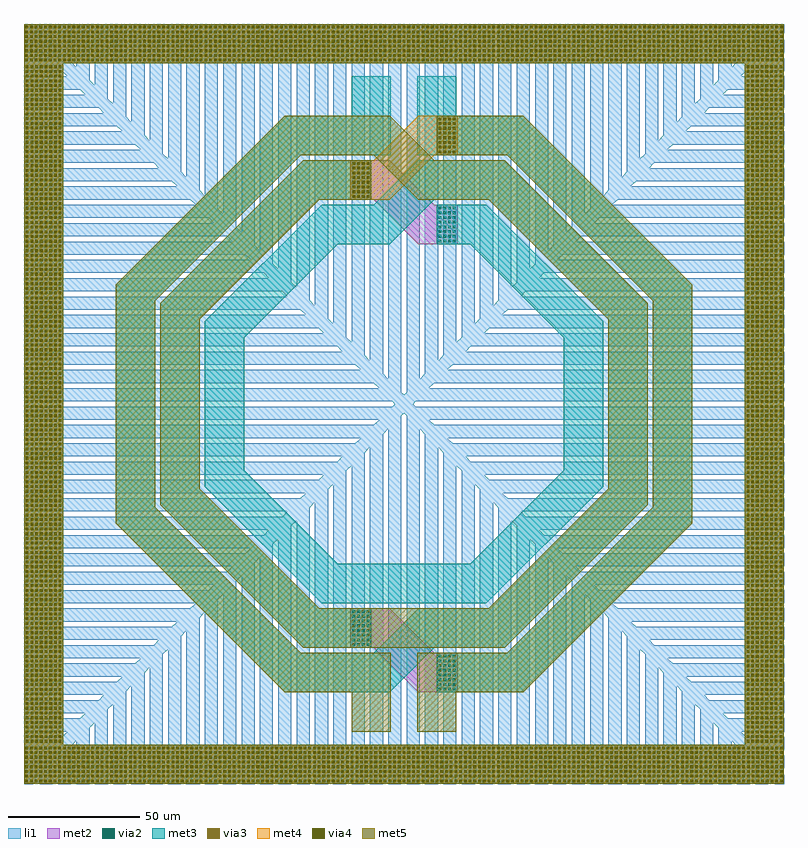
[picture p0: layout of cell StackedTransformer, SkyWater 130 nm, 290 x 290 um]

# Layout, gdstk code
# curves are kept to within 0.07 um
import gdstk
lib = gdstk.Library(unit=1e-6, precision=1e-09)
def R(c, l, rs):  # rectangles x0, y0, x1, y1
    for r in rs: c.add(gdstk.rectangle(r[:2], r[2:], *l))
def A(c, l, x, y, w, h, nx, ny, dx, dy):  # array of equal rectangles
    R(c, l, [(x+i*dx, y+j*dy, x+i*dx+w, y+j*dy+h) for i in range(nx) for j in range(ny)])
def P(c, l, *ps):  # polygons
    for p in ps: c.add(gdstk.Polygon(p, *l))
li1 = (67, 20)
met2 = (69, 20)
via2 = (69, 44)
met3 = (70, 20)
via3 = (70, 44)
met4 = (71, 20)
via4 = (71, 44)
met5 = (72, 20)

stackedtransformer = lib.new_cell('StackedTransformer')
P(stackedtransformer, li1, [(-145.001,-48),(-51.536,-48),(-53.536,-50),(-145.001,-50),(-145.001,-55),(-58.536,-55),(-60.536,-57),(-145.001,-57),(-145.001,-62),(-65.536,-62),(-67.536,-64),(-145.001,-64),(-145.001,-69),(-72.536,-69),(-74.536,-71),(-145.001,-71),(-145.001,-76),(-79.536,-76),(-81.535,-78),(-145.001,-78),(-145.001,-83),(-86.536,-83),(-88.535,-85),(-145.001,-85),(-145.001,-90),(-93.536,-90),(-95.535,-92),(-145.001,-92),(-145.001,-97),(-100.536,-97),(-102.535,-99),(-145.001,-99),(-145.001,-104),(-107.536,-104),(-109.535,-106),(-145.001,-106),(-145.001,-111),(-114.536,-111),(-116.535,-113),(-145.001,-113),(-145.001,-118),(-121.536,-118),(-123.535,-120),(-145.001,-120),(-145.001,-125),(-128.536,-125),(-130.535,-127),(-145.001,-127),(-145.001,-132),(-135.536,-132.001),(-137.535,-134),(-145.001,-133.999),(-145.001,-139.001),(-142.537,-139.001),(-145.001,-141.465),(-145.001,-145.001),(-141.465,-145.001),(-139.001,-142.537),(-139.001,-145.001),(-133.999,-145.001),(-134,-137.535),(-132.001,-135.536),(-132,-145.001),(-127,-145.001),(-127,-130.535),(-125,-128.536),(-125,-145.001),(-120,-145.001),(-120,-123.535),(-118,-121.536),(-118,-145.001),(-113,-145.001),(-113,-116.535),(-111,-114.536),(-111,-145.001),(-106,-145.001),(-106,-109.535),(-104,-107.536),(-104,-145.001),(-99,-145.001),(-99,-102.535),(-97,-100.536),(-97,-145.001),(-92,-145.001),(-92,-95.535),(-90,-93.536),(-90,-145.001),(-85,-145.001),(-85,-88.535),(-83,-86.536),(-83,-145.001),(-78,-145.001),(-78,-81.535),(-76,-79.536),(-76,-145.001),(-71,-145.001),(-71,-74.536),(-69,-72.536),(-69,-145.001),(-64,-145.001),(-64,-67.536),(-62,-65.536),(-62,-145.001),(-57,-145.001),(-57,-60.536),(-55,-58.536),(-55,-145.001),(-50,-145.001),(-50,-53.536),(-48,-51.536),(-48,-145.001),(-43,-145.001),(-43,-46.536),(-41,-44.536),(-41,-145.001),(-36,-145.001),(-36,-39.536),(-34,-37.536),(-34,-145.001),(-29,-145.001),(-29,-32.536),(-27,-30.536),(-27,-145.001),(-22,-145.001),(-22,-25.536),(-20,-23.536),(-20,-145.001),(-15,-145.001),(-15,-18.536),(-13,-16.536),(-13,-145.001),(-8,-145.001),(-8,-11.536),(-6,-9.536),(-6,-145.001),(-1,-145.001),(-1,-4.536),(0,-3.536),(1,-4.536),(1,-145.001),(6,-145.001),(6,-9.536),(8,-11.536),(8,-145.001),(13,-145.001),(13,-16.536),(15,-18.536),(15,-145.001),(20,-145.001),(20,-23.536),(22,-25.536),(22,-145.001),(27,-145.001),(27,-30.536),(29,-32.536),(29,-145.001),(34,-145.001),(34,-37.536),(36,-39.536),(36,-145.001),(41,-145.001),(41,-44.536),(43,-46.536),(43,-145.001),(48,-145.001),(48,-51.536),(50,-53.536),(50,-145.001),(55,-145.001),(55,-58.536),(57,-60.536),(57,-145.001),(62,-145.001),(62,-65.536),(64,-67.536),(64,-145.001),(69,-145.001),(69,-72.536),(71,-74.536),(71,-145.001),(76,-145.001),(76,-79.536),(78,-81.535),(78,-145.001),(83,-145.001),(83,-86.536),(85,-88.535),(85,-145.001),(90,-145.001),(90,-93.536),(92,-95.535),(92,-145.001),(97,-145.001),(97,-100.536),(99,-102.535),(99,-145.001),(104,-145.001),(104,-107.536),(106,-109.535),(106,-145.001),(111,-145.001),(111,-114.536),(113,-116.535),(113,-145.001),(118,-145.001),(118,-121.536),(120,-123.535),(120,-145.001),(125,-145.001),(125,-128.536),(127,-130.535),(127,-145.001),(132,-145.001),(132.001,-135.536),(134,-137.535),(133.999,-145.001),(139.001,-145.001),(139.001,-142.537),(141.465,-145.001),(145.001,-145.001),(145.001,-141.465),(142.537,-139.001),(145.001,-139.001),(145.001,-133.999),(137.535,-134),(135.536,-132.001),(145.001,-132),(145.001,-127),(130.535,-127),(128.536,-125),(145.001,-125),(145.001,-120),(123.535,-120),(121.536,-118),(145.001,-118),(145.001,-113),(116.535,-113),(114.536,-111),(145.001,-111),(145.001,-106),(109.535,-106),(107.536,-104),(145.001,-104),(145.001,-99),(102.535,-99),(100.536,-97),(145.001,-97),(145.001,-92),(95.535,-92),(93.536,-90),(145.001,-90),(145.001,-85),(88.535,-85),(86.536,-83),(145.001,-83),(145.001,-78),(81.535,-78),(79.536,-76),(145.001,-76),(145.001,-71),(74.536,-71),(72.536,-69),(145.001,-69),(145.001,-64),(67.536,-64),(65.536,-62),(145.001,-62),(145.001,-57),(60.536,-57),(58.536,-55),(145.001,-55),(145.001,-50),(53.536,-50),(51.536,-48),(145.001,-48),(145.001,-43),(46.536,-43),(44.536,-41),(145.001,-41),(145.001,-36),(39.536,-36),(37.536,-34),(145.001,-34),(145.001,-29),(32.536,-29),(30.536,-27),(145.001,-27),(145.001,-22),(25.536,-22),(23.536,-20),(145.001,-20),(145.001,-15),(18.536,-15),(16.536,-13),(145.001,-13),(145.001,-8),(11.536,-8),(9.536,-6),(145.001,-6),(145.001,-1),(4.536,-1),(3.536,0),(4.536,1),(145.001,1),(145.001,6),(9.536,6),(11.536,8),(145.001,8),(145.001,13),(16.536,13),(18.536,15),(145.001,15),(145.001,20),(23.536,20),(25.536,22),(145.001,22),(145.001,27),(30.536,27),(32.536,29),(145.001,29),(145.001,34),(37.536,34),(39.536,36),(145.001,36),(145.001,41),(44.536,41),(46.536,43),(145.001,43),(145.001,48),(51.536,48),(53.536,50),(145.001,50),(145.001,55),(58.536,55),(60.536,57),(145.001,57),(145.001,62),(65.536,62),(67.536,64),(145.001,64),(145.001,69),(72.536,69),(74.536,71),(145.001,71),(145.001,76),(79.536,76),(81.535,78),(145.001,78),(145.001,83),(86.536,83),(88.535,85),(145.001,85),(145.001,90),(93.536,90),(95.535,92),(145.001,92),(145.001,97),(100.536,97),(102.535,99),(145.001,99),(145.001,104),(107.536,104),(109.535,106),(145.001,106),(145.001,111),(114.536,111),(116.535,113),(145.001,113),(145.001,118),(121.536,118),(123.535,120),(145.001,120),(145.001,125),(128.536,125),(130.535,127),(145.001,127),(145.001,132),(135.536,132.001),(137.535,134),(145.001,133.999),(145.001,139.001),(142.537,139.001),(145.001,141.465),(145.001,145.001),(141.465,145.001),(139.001,142.537),(139.001,145.001),(133.999,145.001),(134,137.535),(132.001,135.536),(132,145.001),(127,145.001),(127,130.535),(125,128.536),(125,145.001),(120,145.001),(120,123.535),(118,121.536),(118,145.001),(113,145.001),(113,116.535),(111,114.536),(111,145.001),(106,145.001),(106,109.535),(104,107.536),(104,145.001),(99,145.001),(99,102.535),(97,100.536),(97,145.001),(92,145.001),(92,95.535),(90,93.536),(90,145.001),(85,145.001),(85,88.535),(83,86.536),(83,145.001),(78,145.001),(78,81.535),(76,79.536),(76,145.001),(71,145.001),(71,74.536),(69,72.536),(69,145.001),(64,145.001),(64,67.536),(62,65.536),(62,145.001),(57,145.001),(57,60.536),(55,58.536),(55,145.001),(50,145.001),(50,53.536),(48,51.536),(48,145.001),(43,145.001),(43,46.536),(41,44.536),(41,145.001),(36,145.001),(36,39.536),(34,37.536),(34,145.001),(29,145.001),(29,32.536),(27,30.536),(27,145.001),(22,145.001),(22,25.536),(20,23.536),(20,145.001),(15,145.001),(15,18.536),(13,16.536),(13,145.001),(8,145.001),(8,11.536),(6,9.536),(6,145.001),(1,145.001),(1,4.536),(0,3.536),(-1,4.536),(-1,145.001),(-6,145.001),(-6,9.536),(-8,11.536),(-8,145.001),(-13,145.001),(-13,16.536),(-15,18.536),(-15,145.001),(-20,145.001),(-20,23.536),(-22,25.536),(-22,145.001),(-27,145.001),(-27,30.536),(-29,32.536),(-29,145.001),(-34,145.001),(-34,37.536),(-36,39.536),(-36,145.001),(-41,145.001),(-41,44.536),(-43,46.536),(-43,145.001),(-48,145.001),(-48,51.536),(-50,53.536),(-50,145.001),(-55,145.001),(-55,58.536),(-57,60.536),(-57,145.001),(-62,145.001),(-62,65.536),(-64,67.536),(-64,145.001),(-69,145.001),(-69,72.536),(-71,74.536),(-71,145.001),(-76,145.001),(-76,79.536),(-78,81.535),(-78,145.001),(-83,145.001),(-83,86.536),(-85,88.535),(-85,145.001),(-90,145.001),(-90,93.536),(-92,95.535),(-92,145.001),(-97,145.001),(-97,100.536),(-99,102.535),(-99,145.001),(-104,145.001),(-104,107.536),(-106,109.535),(-106,145.001),(-111,145.001),(-111,114.536),(-113,116.535),(-113,145.001),(-118,145.001),(-118,121.536),(-120,123.535),(-120,145.001),(-125,145.001),(-125,128.536),(-127,130.535),(-127,145.001),(-132,145.001),(-132.001,135.536),(-134,137.535),(-133.999,145.001),(-139.001,145.001),(-139.001,142.537),(-141.465,145.001),(-145.001,145.001),(-145.001,141.465),(-142.537,139.001),(-145.001,139.001),(-145.001,133.999),(-137.535,134),(-135.536,132.001),(-145.001,132),(-145.001,127),(-130.535,127),(-128.536,125),(-145.001,125),(-145.001,120),(-123.535,120),(-121.536,118),(-145.001,118),(-145.001,113),(-116.535,113),(-114.536,111),(-145.001,111),(-145.001,106),(-109.535,106),(-107.536,104),(-145.001,104),(-145.001,99),(-102.535,99),(-100.536,97),(-145.001,97),(-145.001,92),(-95.535,92),(-93.536,90),(-145.001,90),(-145.001,85),(-88.535,85),(-86.536,83),(-145.001,83),(-145.001,78),(-81.535,78),(-79.536,76),(-145.001,76),(-145.001,71),(-74.536,71),(-72.536,69),(-145.001,69),(-145.001,64),(-67.536,64),(-65.536,62),(-145.001,62),(-145.001,57),(-60.536,57),(-58.536,55),(-145.001,55),(-145.001,50),(-53.536,50),(-51.536,48),(-145.001,48),(-145.001,43),(-46.536,43),(-44.536,41),(-145.001,41),(-145.001,36),(-39.536,36),(-37.536,34),(-145.001,34),(-145.001,29),(-32.536,29),(-30.536,27),(-145.001,27),(-145.001,22),(-25.536,22),(-23.536,20),(-145.001,20),(-145.001,15),(-18.536,15),(-16.536,13),(-145.001,13),(-145.001,8),(-11.536,8),(-9.536,6),(-145.001,6),(-145.001,1),(-4.536,1),(-3.536,0),(-4.536,-1),(-145.001,-1),(-145.001,-6),(-9.536,-6),(-11.536,-8),(-145.001,-8),(-145.001,-13),(-16.536,-13),(-18.536,-15),(-145.001,-15),(-145.001,-20),(-23.536,-20),(-25.536,-22),(-145.001,-22),(-145.001,-27),(-30.536,-27),(-32.536,-29),(-145.001,-29),(-145.001,-34),(-37.536,-34),(-39.536,-36),(-145.001,-36),(-145.001,-41),(-44.536,-41),(-46.536,-43),(-145.001,-43)])
R(stackedtransformer, met2, [(-145,-145,145,-130), (-145,-130,-130,130), (130,-130,145,130), (-145,130,145,145)])
P(stackedtransformer, met2, [(-20.436,-93),(-12.436,-93),(-11.608,-93),(5.394,-110.001),(12.436,-110.001),(20.436,-110.001),(20.436,-95),(12.436,-95),(11.608,-95),(-5.394,-77.999),(-12.436,-77.999),(-20.436,-77.999)],
  [(-20.436,78),(-12.436,78),(-11.608,78),(5.394,60.999),(12.436,60.999),(20.436,60.999),(20.436,76),(12.436,76),(11.608,76),(-5.394,93.001),(-12.436,93.001),(-20.436,93.001)])
A(stackedtransformer, via2, -144.5, -144.3, 1, 1, 161, 8, 1.8, 1.8)
A(stackedtransformer, via2, -144.3, -129.2, 1, 1, 8, 144, 1.8, 1.8)
A(stackedtransformer, via2, 130.7, -129.2, 1, 1, 8, 144, 1.8, 1.8)
A(stackedtransformer, via2, 13.234, -109.301, 1.002, 1.002, 4, 8, 1.8, 1.8)
A(stackedtransformer, via2, -19.636, -92.301, 1.002, 1.002, 4, 8, 1.8, 1.8)
A(stackedtransformer, via2, 13.234, 61.699, 1.002, 1.002, 4, 8, 1.8, 1.8)
A(stackedtransformer, via2, -19.636, 78.699, 1.002, 1.002, 4, 8, 1.8, 1.8)
A(stackedtransformer, via2, -144.5, 130.7, 1, 1, 161, 8, 1.8, 1.8)
R(stackedtransformer, met3, [(-145,-145,145,-130), (-145,-130,-130,130), (130,-130,145,130), (-145,130,145,145)])
P(stackedtransformer, met3, [(-110.001,-45.564),(-45.563,-110.001),(-5.394,-110.001),(11.608,-93),(38.522,-93.001),(93.001,-38.522),(93.001,38.522),(38.522,93.001),(5.394,93.001),(-11.608,76),(-31.48,76.001),(-76.001,31.481),(-76.001,-31.481),(-31.48,-76.001),(31.48,-76.001),(76.001,-31.481),(76.001,31.481),(31.48,76.001),(12.435,76.001),(12.435,61.001),(25.267,61.001),(61.001,25.268),(61.001,-25.268),(25.267,-61.001),(-25.267,-61.001),(-61.001,-25.268),(-61.001,25.268),(-25.267,61.001),(-5.394,60.999),(11.608,78),(32.309,78.001),(78.001,32.309),(78.001,-32.309),(32.309,-78.001),(5.394,-77.999),(-11.608,-95),(-39.35,-95.001),(-95.001,-39.351),(-95.001,39.351),(-39.35,95.001),(-5,94.999),(-5,125.001),(-20,125.001),(-20.001,110.001),(-45.563,110.001),(-110.001,45.564)],
  [(-93.001,-38.522),(-38.522,-93.001),(-12.435,-93.001),(-12.435,-78.001),(-32.309,-78.001),(-78.001,-32.309),(-78.001,32.309),(-32.309,78.001),(-12.435,78.001),(-12.435,93.001),(-38.522,93.001),(-93.001,38.522)],
  [(5,94.999),(39.35,95.001),(95.001,39.351),(95.001,-39.351),(39.35,-95.001),(12.435,-95.001),(12.435,-110.001),(45.563,-110.001),(110.001,-45.564),(110.001,45.564),(45.563,110.001),(20.001,110.001),(20,125.001),(5,125.001)])
A(stackedtransformer, via3, -144.5, -144.3, 1, 1, 161, 8, 1.8, 1.8)
A(stackedtransformer, via3, -144.3, -129.2, 1, 1, 8, 144, 1.8, 1.8)
A(stackedtransformer, via3, 130.7, -129.2, 1, 1, 8, 144, 1.8, 1.8)
A(stackedtransformer, via3, -144.5, 130.7, 1, 1, 161, 8, 1.8, 1.8)
R(stackedtransformer, met4, [(-145,-145,145,-130), (-145,-130,-130,130), (130,-130,145,130), (-145,130,145,145)])
P(stackedtransformer, met4, [(-20.435,93),(-12.435,93),(-11.607,93),(5.393,110),(12.435,110),(20.435,110),(20.435,95),(12.435,95),(11.607,95),(-5.393,78),(-12.435,78),(-20.435,78)])
A(stackedtransformer, via4, -144.5, -144.3, 1, 1, 161, 8, 1.8, 1.8)
A(stackedtransformer, via4, -144.3, -129.2, 1, 1, 8, 144, 1.8, 1.8)
A(stackedtransformer, via4, 130.7, -129.2, 1, 1, 8, 144, 1.8, 1.8)
A(stackedtransformer, via4, -19.636, 78.699, 1.002, 1.002, 4, 8, 1.8, 1.8)
A(stackedtransformer, via4, 13.234, 95.699, 1.002, 1.002, 4, 8, 1.8, 1.8)
A(stackedtransformer, via4, -144.5, 130.7, 1, 1, 161, 8, 1.8, 1.8)
R(stackedtransformer, met5, [(-145,-145,145,-130), (-145,-130,-130,130), (130,-130,145,130), (-145,130,145,145)])
P(stackedtransformer, met5, [(-110.001,-45.564),(-45.563,-110.001),(-20.001,-110.001),(-20,-125.001),(-5,-125.001),(-5,-94.999),(-39.35,-95.001),(-95.001,-39.351),(-95.001,39.351),(-39.35,95.001),(-11.608,95),(5.394,77.999),(32.309,78.001),(78.001,32.309),(78.001,-32.309),(32.309,-78.001),(-32.309,-78.001),(-78.001,-32.309),(-78.001,32.309),(-32.309,78.001),(-12.435,78.001),(-12.435,93.001),(-38.522,93.001),(-93.001,38.522),(-93.001,-38.522),(-38.522,-93.001),(38.522,-93.001),(93.001,-38.522),(93.001,38.522),(38.522,93.001),(11.608,93),(-5.394,110.001),(-45.563,110.001),(-110.001,45.564)],
  [(5,-125.001),(20,-125.001),(20.001,-110.001),(45.563,-110.001),(110.001,-45.564),(110.001,45.564),(45.563,110.001),(12.435,110.001),(12.435,95.001),(39.35,95.001),(95.001,39.351),(95.001,-39.351),(39.35,-95.001),(5,-94.999)])

lib.write_gds('StackedTransformer.gds')
